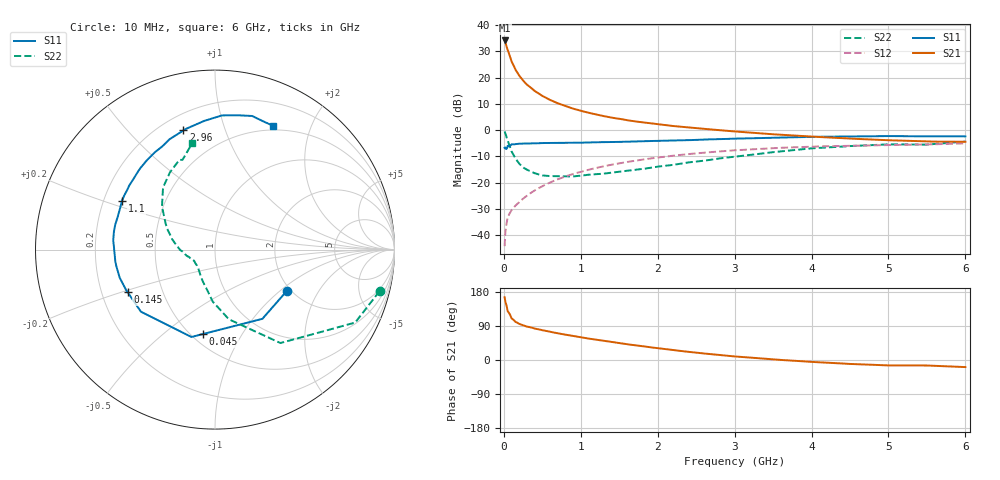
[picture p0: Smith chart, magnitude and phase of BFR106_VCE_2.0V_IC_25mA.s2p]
! Infineon Technologies  Discrete & RF Semiconductors
! BFR106
! VCE =  2.0 V,  IC =  25 mA
! Common Emitter S-Parameters:  Nov 2015
# GHz  S  MA  R  50
!  f  S11  S21  S12  S22
! GHz  MAG  ANG  MAG  ANG  MAG  ANG  MAG  ANG
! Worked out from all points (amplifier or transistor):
!   210 points, 10 MHz to 6 GHz, reference 50 ohm
!   highest |S21| = 34.2 dB at 10 MHz (marker M1)
!   |S21| within 3 dB of that: start of sweep to 42.52 MHz
!   unconditionally stable (mu >= 1): 330.4 MHz to 2.538 GHz; 5.107 GHz to end of sweep
!   at 185 MHz: K = 0.83, MSG = 24.7 dB, |S12| = -27.8 dB
!   at 1.52 GHz: K = 1.06, MAG = 6.9 dB, |S12| = -12.5 dB
!   at 6 GHz: K = 1.01, MAG = -0.4 dB, |S12| = -5.0 dB
!   S11 on the Smith chart (normalised r, x): 10 MHz: 1.92, -1.11; 45 MHz: 0.57, -0.69; 145 MHz: 0.31, -0.21; 1.1 GHz: 0.28, +0.23; 2.96 GHz: 0.29, +0.73; 6 GHz: 0.45, +1.48
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0.01  0.4623 -29.6  51.05 165.5  0.0062 79.5  0.9455 -14.2
0.02  0.4674 -55.6  47.05 153.7  0.0116 71.0  0.8804 -27.5
0.045  0.4746 -97.9  35.18 134.1  0.0201 57.3  0.6632 -49.1
0.05  0.5043 -105.1  33.5 128.7  0.0219 55.9  0.6355 -55.0
0.1  0.5386 -140.0  20.43 110.0  0.0301 52.3  0.3962 -78.7
0.145  0.5417 -154.1  14.81 102.0  0.0359 54.3  0.3001 -90.6
0.15  0.544 -155.6  14.22 100.7  0.0365 54.5  0.2905 -92.4
0.2  0.5535 -163.5  10.94 95.3  0.0427 57.9  0.2312 -100.6
0.26  0.5574 -170.4  8.488 90.6  0.0511 60.4  0.1916 -110.4
0.3  0.5593 -173.4  7.361 88.2  0.0566 62.3  0.1773 -115.1
0.4  0.5613 180.0  5.587 83.1  0.0711 64.5  0.1516 -125.3
0.5  0.5695 174.8  4.492 78.6  0.0856 65.9  0.1379 -132.9
0.6  0.5719 170.1  3.77 74.4  0.101 65.9  0.1339 -138.0
0.8  0.5716 162.8  2.872 66.8  0.1315 64.9  0.1329 -148.1
1.02  0.5794 155.0  2.298 59.4  0.1643 63.1  0.1372 -154.9
1.1  0.5852 152.5  2.15 56.6  0.1766 62.2  0.142 -157.4
2.02  0.6273 126.5  1.288 30.7  0.3038 48.9  0.2039 177.4
2.96  0.6873 104.8  0.958 10.2  0.4099 33.7  0.3073 152.9
3.1  0.695 102.1  0.923 8.0  0.422 31.4  0.3247 149.4
4.1  0.7499 85.6  0.742 -6.0  0.491 16.3  0.4595 127.8
5.1  0.7703 73.4  0.637 -14.3  0.5246 4.0  0.5364 111.3
6  0.7623 64.9  0.602 -18.7  0.561 -5.3  0.6074 102.0
